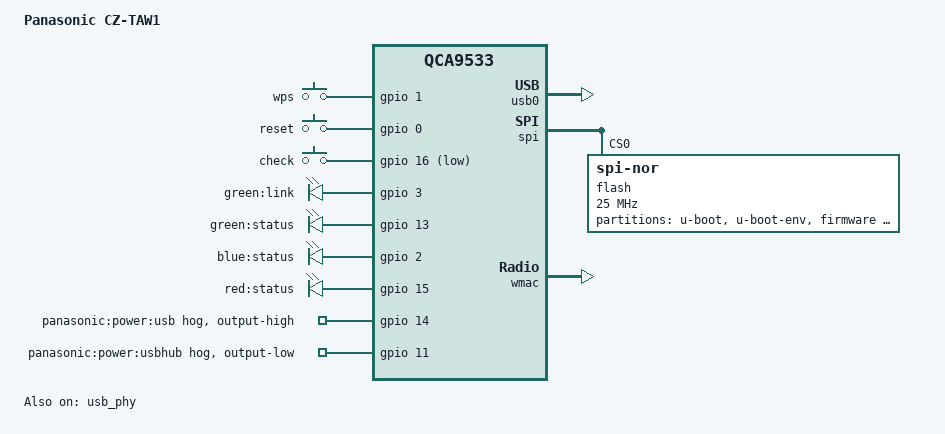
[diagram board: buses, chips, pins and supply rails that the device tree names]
// SPDX-License-Identifier: GPL-2.0-or-later OR MIT

#include "qca953x.dtsi"

#include <dt-bindings/gpio/gpio.h>
#include <dt-bindings/input/input.h>

/ {
	model = "Panasonic CZ-TAW1";
	compatible = "panasonic,cz-taw1", "qca,qca9533";

	aliases {
		led-boot = &led_status_green;
		led-failsafe = &led_status_red;
		led-running = &led_status_green;
		led-upgrade = &led_status_blue;
		label-mac-device = &eth1;
	};

	keys {
		compatible = "gpio-keys";

		wps {
			label = "wps";
			linux,code = <KEY_WPS_BUTTON>;
			gpios = <&gpio 1 GPIO_ACTIVE_HIGH>;
		};

		reset {
			label = "reset";
			linux,code = <KEY_RESTART>;
			gpios = <&gpio 0 GPIO_ACTIVE_HIGH>;
		};

		check {
			label = "check";
			linux,code = <KEY_RFKILL>;
			gpios = <&gpio 16 GPIO_ACTIVE_LOW>;
		};
	};

	leds {
		compatible = "gpio-leds";

		link_green {
			label = "green:link";
			gpios = <&gpio 3 GPIO_ACTIVE_HIGH>;
		};

		led_status_green: status_green {
			label = "green:status";
			gpios = <&gpio 13 GPIO_ACTIVE_HIGH>;
		};

		led_status_blue: status_blue {
			label = "blue:status";
			gpios = <&gpio 2 GPIO_ACTIVE_HIGH>;
		};

		led_status_red: status_red {
			label = "red:status";
			gpios = <&gpio 15 GPIO_ACTIVE_HIGH>;
		};
	};
};

&gpio {
	ehci_enable {
		gpio-hog;
		gpios = <14 GPIO_ACTIVE_HIGH>;
		line-name = "panasonic:power:usb";
		output-high;
	};

	usb_hub_enable {
		gpio-hog;
		gpios = <11 GPIO_ACTIVE_HIGH>;
		line-name = "panasonic:power:usbhub";
		output-low;
	};
};

&usb0 {
	#address-cells = <1>;
	#size-cells = <0>;
	status = "okay";

	hub_port: port@1 {
		reg = <1>;
		#trigger-source-cells = <0>;
	};
};

&usb_phy {
	status = "okay";
};

&spi {
	status = "okay";

	flash@0 {
		compatible = "jedec,spi-nor";
		reg = <0>;
		spi-max-frequency = <25000000>;

		/* partitions are passed via bootloader */
		partitions {
			compatible = "fixed-partitions";
			#address-cells = <1>;
			#size-cells = <1>;

			partition@0 {
				label = "u-boot";
				reg = <0x000000 0x040000>;
				read-only;
			};

			partition@40000 {
				label = "u-boot-env";
				reg = <0x040000 0x010000>;
			};

			partition@50000 {
				label = "firmware";
				compatible = "denx,uimage";
				reg = <0x050000 0xDA0000>;
			};

			art: partition@ff0000 {
				label = "art";
				reg = <0xff0000 0x010000>;
				read-only;
			};
		};
	};
};

&wmac {
	status = "okay";

	mtd-cal-data = <&art 0x1000>;
};
